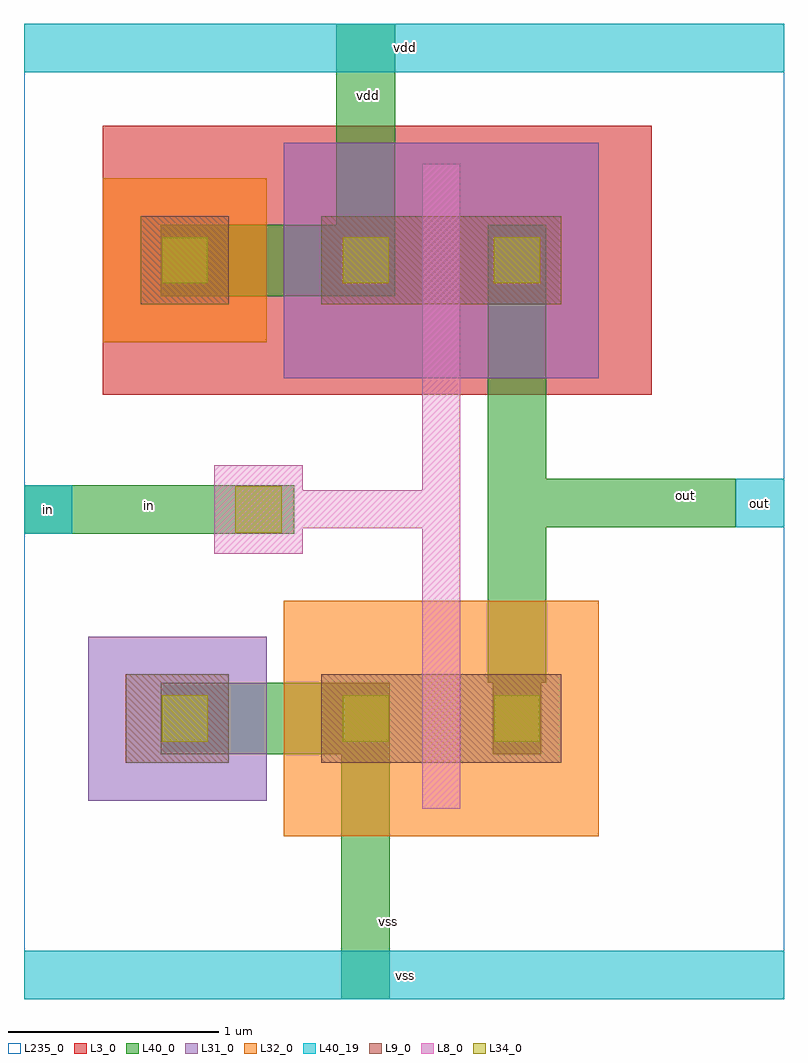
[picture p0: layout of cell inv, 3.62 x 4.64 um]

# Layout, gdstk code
import gdstk
lib = gdstk.Library(unit=1e-6, precision=1e-09)
def R(c, l, rs):  # rectangles x0, y0, x1, y1
    for r in rs: c.add(gdstk.rectangle(r[:2], r[2:], *l))
L3_0 = (3, 0)
L8_0 = (8, 0)
L9_0 = (9, 0)
L31_0 = (31, 0)
L32_0 = (32, 0)
L34_0 = (34, 0)
L40_0 = (40, 0)
L40_19 = (40, 19)
L235_0 = (235, 0)

nmos_18_cdns_78236305446 = lib.new_cell('nmos_18_CDNS_782363054460')
R(nmos_18_cdns_78236305446, L8_0, [(0.48,-0.22,0.66,-0.1), (0.48,-0.1,0.66,0), (0.48,0,0.66,0.42), (0.48,0.42,0.66,0.52), (0.48,0.52,0.66,0.64)])
R(nmos_18_cdns_78236305446, L9_0, [(-0.93,0,-0.44,0.42), (0,0,0.48,0.42), (0.48,0,0.66,0.42), (0.66,0,1.14,0.42)])
R(nmos_18_cdns_78236305446, L31_0, [(-1.11,-0.18,-0.26,0.6)])
R(nmos_18_cdns_78236305446, L32_0, [(-0.18,-0.35,1.32,0.77)])
R(nmos_18_cdns_78236305446, L34_0, [(-0.76,0.1,-0.54,0.32), (0.1,0.1,0.32,0.32), (0.1,0.1,0.32,0.32), (0.82,0.1,1.04,0.32), (0.82,0.1,1.04,0.32)])
R(nmos_18_cdns_78236305446, L40_0, [(-0.765,0.04,-0.535,0.38), (0.095,0.04,0.325,0.38), (0.815,0.04,1.045,0.38)])
nmos_18_cdns_78236305446.add(gdstk.Label('[@instanceName]', (0.57,0.207), layer=77, texttype=7))

pmos_18_cdns_78236305446 = lib.new_cell('pmos_18_CDNS_782363054461')
R(pmos_18_cdns_78236305446, L3_0, [(-1.04,-0.43,1.57,0.85)])
R(pmos_18_cdns_78236305446, L8_0, [(0.48,-0.25,0.66,0), (0.48,0,0.66,0.42), (0.48,0.42,0.66,0.67)])
R(pmos_18_cdns_78236305446, L9_0, [(-0.86,0,-0.44,0.42), (0,0,0.48,0.42), (0.48,0,0.66,0.42), (0.66,0,1.14,0.42)])
R(pmos_18_cdns_78236305446, L31_0, [(-0.18,-0.35,1.32,0.77)])
R(pmos_18_cdns_78236305446, L32_0, [(-1.04,-0.18,-0.26,0.6)])
R(pmos_18_cdns_78236305446, L34_0, [(-0.76,0.1,-0.54,0.32), (0.1,0.1,0.32,0.32), (0.82,0.1,1.04,0.32)])
R(pmos_18_cdns_78236305446, L40_0, [(-0.765,0.04,-0.535,0.38), (0.07,0.04,0.35,0.38), (0.79,0.04,1.07,0.38)])
pmos_18_cdns_78236305446.add(gdstk.Label('[@instanceName]', (0.57,0.212), layer=77, texttype=7))

m1_po_4x_cdns_7823630544 = lib.new_cell('M1_PO_4X_CDNS_782363054460')
R(m1_po_4x_cdns_7823630544, L8_0, [(-0.21,-0.21,0.21,0.21)])
R(m1_po_4x_cdns_7823630544, L34_0, [(-0.11,-0.11,0.11,0.11)])
R(m1_po_4x_cdns_7823630544, L40_0, [(-0.17,-0.115,0.17,0.115)])

inv = lib.new_cell('inv')
R(inv, L40_19, [(0,0,3.615,0.23), (0,2.215,0.23,2.445), (3.385,2.245,3.615,2.475), (0,4.41,3.615,4.64)])
R(inv, L235_0, [(0,0,3.615,4.64)])
inv.add(gdstk.FlexPath([(0.115,2.33),(0.115,2.445)], 0.23, ends=(0.115, 0), simple_path=True, layer=40, datatype=0))  # L40_0
inv.add(gdstk.FlexPath([(1.625,1.165),(1.625,0)], 0.23, ends="flush", simple_path=True, layer=40, datatype=0))  # L40_0
inv.add(gdstk.FlexPath([(1.115,2.33),(0.115,2.33)], 0.23, ends=(0, 0.115), simple_path=True, layer=40, datatype=0))  # L40_0
inv.add(gdstk.FlexPath([(1.625,3.685),(1.625,4.64)], 0.28, ends="flush", simple_path=True, layer=40, datatype=0))  # L40_0
inv.add(gdstk.FlexPath([(2.345,3.345),(2.345,2.36)], 0.28, ends=(0, 0.115), simple_path=True, layer=40, datatype=0))  # L40_0
inv.add(gdstk.FlexPath([(2.345,2.36),(2.345,1.505)], 0.28, ends=(0.115, 0), simple_path=True, layer=40, datatype=0))  # L40_0
inv.add(gdstk.FlexPath([(0.88,3.515),(1.765,3.515)], 0.34, ends="flush", simple_path=True, layer=40, datatype=0))  # L40_0
inv.add(gdstk.FlexPath([(0.88,1.335),(1.74,1.335)], 0.34, ends="flush", simple_path=True, layer=40, datatype=0))  # L40_0
inv.add(gdstk.FlexPath([(3.385,2.36),(2.345,2.36)], 0.23, ends=(0, 0.14), simple_path=True, layer=40, datatype=0))  # L40_0
inv.add(gdstk.FlexPath([(1.985,2.33),(1.115,2.33)], 0.18, ends=(0.09, 0), simple_path=True, layer=8, datatype=0))  # L8_0
inv.add(gdstk.FlexPath([(1.985,2.33),(1.985,1.765)], 0.18, ends=(0.09, 0), simple_path=True, layer=8, datatype=0))  # L8_0
inv.add(gdstk.FlexPath([(1.985,3.055),(1.985,2.33)], 0.18, ends=(0, 0.09), simple_path=True, layer=8, datatype=0))  # L8_0
inv.add(gdstk.Reference(nmos_18_cdns_78236305446, (1.415,1.125)))
inv.add(gdstk.Reference(pmos_18_cdns_78236305446, (1.415,3.305)))
inv.add(gdstk.Reference(m1_po_4x_cdns_7823630544, (1.115,2.33)))
inv.add(gdstk.Label('vss', (1.815,0.115), layer=40, texttype=0))
inv.add(gdstk.Label('vdd', (1.815,4.525), layer=40, texttype=0))
inv.add(gdstk.Label('out', (3.5,2.36), layer=40, texttype=0))
inv.add(gdstk.Label('in', (0.115,2.33), layer=40, texttype=0))
inv.add(gdstk.Label('vdd', (1.64,4.3), layer=40, texttype=7))
inv.add(gdstk.Label('out', (3.145,2.395), layer=40, texttype=7))
inv.add(gdstk.Label('vss', (1.735,0.37), layer=40, texttype=7))
inv.add(gdstk.Label('in', (0.595,2.35), layer=40, texttype=7))

lib.write_gds('inv.gds')
